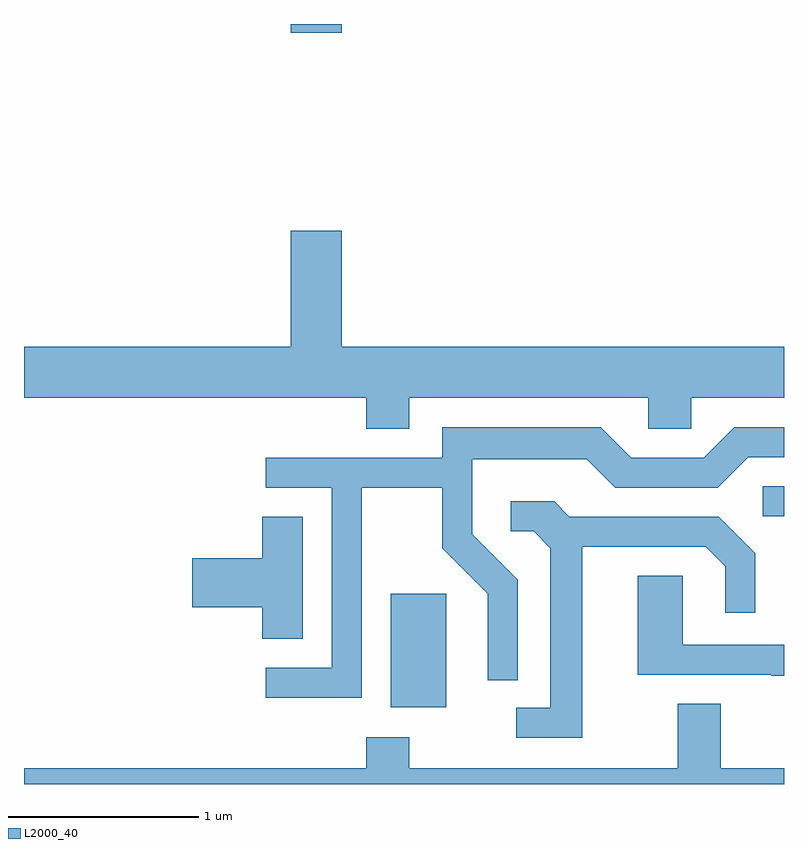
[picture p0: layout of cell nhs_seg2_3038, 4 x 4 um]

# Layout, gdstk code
import gdstk
lib = gdstk.Library(unit=1e-6, precision=1e-09)
def R(c, l, rs):  # rectangles x0, y0, x1, y1
    for r in rs: c.add(gdstk.rectangle(r[:2], r[2:], *l))
def P(c, l, *ps):  # polygons
    for p in ps: c.add(gdstk.Polygon(p, *l))
L2000_40 = (2000, 40)

nhs_seg2_3038 = lib.new_cell('nhs_seg2_3038')
R(nhs_seg2_3038, L2000_40, [(275.541,1082.206,275.834,1082.804), (277.498,1083.211,277.611,1083.369), (275.016,1085.756,275.284,1085.802)])
P(nhs_seg2_3038, L2000_40, [(275.639,1083.836),(276.896,1083.836),(276.896,1083.671),(277.124,1083.671),(277.124,1083.836),(277.611,1083.836),(277.611,1084.104),(275.284,1084.104),(275.284,1084.714),(275.016,1084.714),(275.016,1084.104),(273.611,1084.104),(273.611,1083.836),(275.411,1083.836),(275.411,1083.671),(275.639,1083.671)],
  [(275.389,1083.361),(275.811,1083.361),(275.811,1083.044),(276.051,1082.804),(276.051,1082.348),(276.209,1082.348),(276.209,1082.877),(275.969,1083.117),(275.969,1083.511),(276.574,1083.511),(276.724,1083.361),(277.262,1083.361),(277.422,1083.521),(277.611,1083.521),(277.611,1083.679),(277.349,1083.679),(277.189,1083.519),(276.807,1083.519),(276.647,1083.679),(275.811,1083.679),(275.811,1083.519),(274.883,1083.519),(274.883,1083.361),(275.231,1083.361),(275.231,1082.414),(274.883,1082.414),(274.883,1082.256),(275.389,1082.256)],
  [(276.549,1083.051),(277.199,1083.051),(277.301,1082.949),(277.301,1082.703),(277.459,1082.703),(277.459,1083.017),(277.267,1083.209),(276.482,1083.209),(276.402,1083.289),(276.173,1083.289),(276.173,1083.131),(276.294,1083.131),(276.381,1083.044),(276.381,1082.204),(276.203,1082.204),(276.203,1082.046),(276.549,1082.046)],
  [(275.079,1083.209),(274.866,1083.209),(274.866,1082.989),(274.496,1082.989),(274.496,1082.731),(274.866,1082.731),(274.866,1082.566),(275.079,1082.566)],
  [(277.611,1082.534),(277.079,1082.534),(277.079,1082.899),(276.841,1082.899),(276.841,1082.376),(277.545,1082.376),(277.545,1082.371),(277.611,1082.371)],
  [(277.611,1081.884),(277.279,1081.884),(277.279,1082.224),(277.051,1082.224),(277.051,1081.884),(275.639,1081.884),(275.639,1082.049),(275.411,1082.049),(275.411,1081.884),(273.611,1081.884),(273.611,1081.802),(277.611,1081.802)])

lib.write_gds('nhs_seg2_3038.gds')
